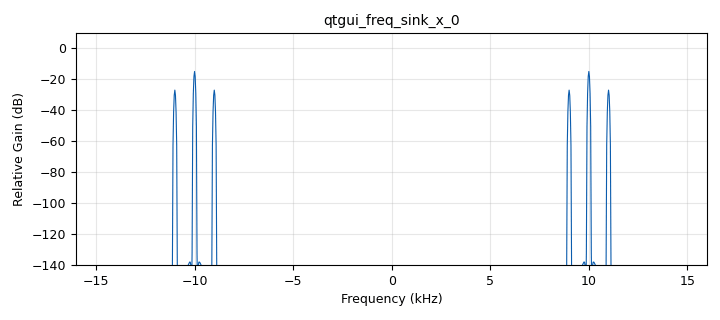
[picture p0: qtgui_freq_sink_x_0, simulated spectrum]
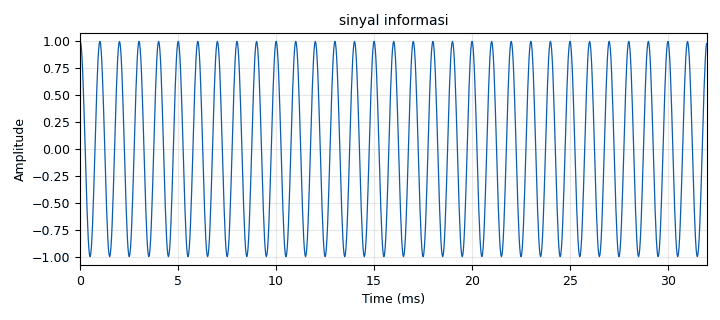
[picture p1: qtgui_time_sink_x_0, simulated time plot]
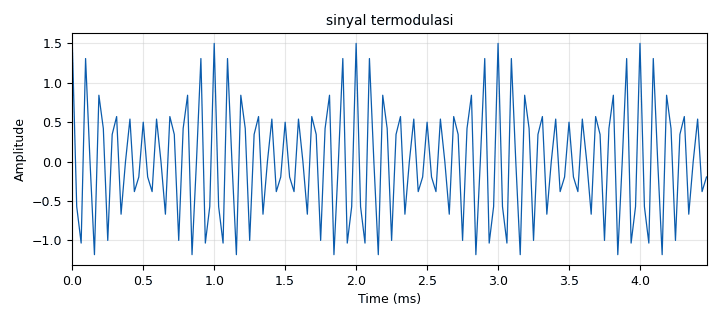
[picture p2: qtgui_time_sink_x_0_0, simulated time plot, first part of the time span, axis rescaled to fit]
options:
  parameters:
    author: Aqil
    generate_options: qt_gui
    id: modulasi_am
    output_language: python
    title: Not titled yet
  states: {}

blocks:
- name: amplitude
  id: variable_qtgui_range
  parameters:
    start: '0'
    step: '0.5'
    stop: '4'
    value: '1'
  states: {}
- name: fc
  id: variable_qtgui_range
  parameters:
    start: '1000'
    step: '10'
    stop: '15000'
    value: '10000'
  states: {}
- name: fm
  id: variable_qtgui_range
  parameters:
    start: '1000'
    step: '10'
    stop: '10000'
    value: '1000'
  states: {}
- name: index_modul
  id: variable_qtgui_range
  parameters:
    start: '0'
    step: '0.1'
    stop: '1'
    value: '0.5'
  states: {}
- name: samp_rate
  id: variable
  parameters:
    value: '32000'
  states: {}
- name: analog_const_source_x_0
  id: analog_const_source_x
  parameters:
    const: index_modul
    type: float
  states: {}
- name: analog_const_source_x_0_0
  id: analog_const_source_x
  parameters:
    const: '1'
    type: float
  states: {}
- name: analog_sig_source_x_0
  id: analog_sig_source_x
  parameters:
    amp: amplitude
    freq: fm
    offset: '0'
    phase: '0'
    samp_rate: samp_rate
    type: float
    waveform: analog.GR_COS_WAVE
  states: {}
- name: analog_sig_source_x_0_0
  id: analog_sig_source_x
  parameters:
    amp: amplitude
    freq: fc
    offset: '0'
    phase: '0'
    samp_rate: samp_rate
    type: float
    waveform: analog.GR_COS_WAVE
  states: {}
- name: blocks_add_xx_0
  id: blocks_add_xx
  parameters:
    type: float
  states: {}
- name: blocks_multiply_xx_0
  id: blocks_multiply_xx
  parameters:
    type: float
  states: {}
- name: blocks_multiply_xx_0_0
  id: blocks_multiply_xx
  parameters:
    type: float
  states: {}
- name: blocks_throttle2_0
  id: blocks_throttle2
  parameters:
    samples_per_second: samp_rate
    type: float
  states: {}
- name: qtgui_freq_sink_x_0
  id: qtgui_freq_sink_x
  parameters:
    bw: samp_rate
    fc: '0'
    fftsize: '1024'
    type: float
  states: {}
- name: qtgui_time_sink_x_0
  id: qtgui_time_sink_x
  parameters:
    name: sinyal informasi
    size: '1024'
    srate: samp_rate
    type: float
  states: {}
- name: qtgui_time_sink_x_0_0
  id: qtgui_time_sink_x
  parameters:
    name: sinyal termodulasi
    size: '1024'
    srate: samp_rate
    type: float
  states: {}

connections:
- [analog_const_source_x_0, '0', blocks_multiply_xx_0, '1']
- [analog_const_source_x_0_0, '0', blocks_add_xx_0, '1']
- [analog_sig_source_x_0, '0', blocks_multiply_xx_0, '0']
- [analog_sig_source_x_0, '0', qtgui_time_sink_x_0, '0']
- [analog_sig_source_x_0_0, '0', blocks_multiply_xx_0_0, '1']
- [blocks_add_xx_0, '0', blocks_multiply_xx_0_0, '0']
- [blocks_multiply_xx_0, '0', blocks_add_xx_0, '0']
- [blocks_multiply_xx_0_0, '0', blocks_throttle2_0, '0']
- [blocks_throttle2_0, '0', qtgui_freq_sink_x_0, '0']
- [blocks_throttle2_0, '0', qtgui_time_sink_x_0_0, '0']

metadata:
  file_format: 1
  grc_version: 3.10.12.0
